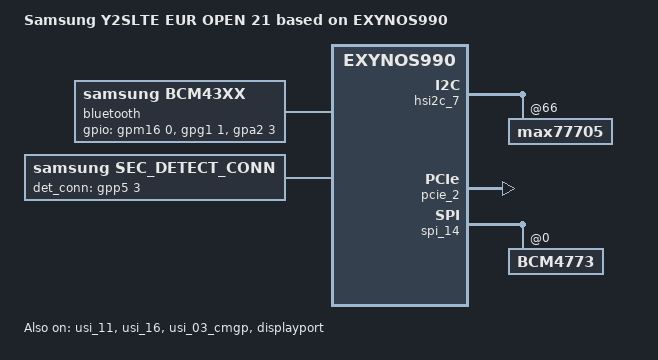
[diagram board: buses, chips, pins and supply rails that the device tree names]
/*
 * SAMSUNG EXYNOS990 board device tree source
 *
 * Copyright (c) 2019 Samsung Electronics Co., Ltd.
 *		http://www.samsung.com
 *
 * This program is free software; you can redistribute it and/or modify
 * it under the terms of the GNU General Public License version 2 as
 * published by the Free Software Foundation.
*/

/dts-v1/;
/plugin/;
#include "exynos9830-y2s_pm_21.dtsi"
#include "exynos990-y2s_common.dtsi"
#include "exynos_gpio_config_macros.dtsi"
#include "exynos9830-picasso_nfc_17.dtsi"
#include "../exynos/exynos9830-universal9830-cp-s5123-sipc.dtsi"
#include <dt-bindings/gpio/gpio.h>
#include "exynos9830-sensorhub_03.dtsi"
#include "exynos9830-hubbley2_fingerprint_00.dtsi"
#include "battery_data_hubbley2_17.dtsi"

#define BOARD_ID	0x10
#define BOARD_REV	0x0

/ {
	compatible = "samsung,Y2SLTE EUR OPEN 21", "samsung,EXYNOS990";
	dtbo-hw_rev = <21>;
	dtbo-hw_rev_end = <255>;
	edtbo-rev = <0>;

	fragment@model {
		target-path = "/";
		__overlay__ {
			#address-cells = <2>;
			#size-cells = <1>;

			model = "Samsung Y2SLTE EUR OPEN 21 based on EXYNOS990";

			acpm_ipc {
				compatible = "samsung,exynos-acpm-ipc";
				board-id = <BOARD_ID>;
				board-rev = <BOARD_REV>;
			};

			pinctrl@15850000 {
				bt_hostwake: bt-hostwake {
					samsung,pins = "gpa2-3";
					samsung,pin-function = <0xF>;
					samsung,pin-pud = <1>;
				};
			};

			pinctrl@10730000 {
				bt_btwake: bt-btwake {
					samsung,pins = "gpg1-1";
					samsung,pin-function = <1>;
					samsung,pin-pud = <0>;
					samsung,pin-con-pdn = <3>;
					samsung,pin-pud-pdn = <0>;
				};
				cam_detect_conn_setting: cam_detect_conn_setting {
					samsung,pins = "gpp5-3";
					samsung,pin-function = <0xf>;
					samsung,pin-pud = <0>;
					samsung,pin-drv = <0>;
				};
			};

			pinctrl@15C30000 {
				bt_en: bt-en {
					samsung,pins = "gpm16-0";
					samsung,pin-function = <1>;
					samsung,pin-pud = <0>;
					samsung,pin-con-pdn = <3>;
					samsung,pin-pud-pdn = <0>;
				};
			};

			bluetooth {
				compatible = "samsung,bcm43xx";
				gpios = <&gpm16 0 GPIO_ACTIVE_HIGH    /*BT_EN*/
				&gpg1 1 GPIO_ACTIVE_HIGH    /*BT_WAKE*/
				&gpa2 3 GPIO_ACTIVE_HIGH    /*BT_HOST_WAKE*/ >;
				pinctrl-names = "default";
				pinctrl-0=<&bt_en &bt_hostwake &bt_btwake>;
				status = "okay";
			};

			sec_detect_conn {
				compatible = "samsung,sec_detect_conn";
				sec,det_conn_gpios = <&gpp5 3 0>;           /* CAM_CON_DET */
				sec,det_conn_name = "CAM_CONNECT";

				sec,det_conn_irq_type = <3>; /* CAM_CON_DET BOTH EDGE*/	
				pinctrl-names = "default";
				pinctrl-0 = <&cam_detect_conn_setting>;
			};

			abc_hub {
				pinctrl-0 = <&cam_detect_conn_setting>;
				cond {
					cond,det_conn_gpios = <&gpp5 3 0>; /* CAM_CON_DET */

					cond,name="cam_cond";
					cond,det_conn_irq_type =<3>; /* CAM_CON_DET BOTH EDGE*/
				};
			};
		}; /* end of __overlay__ */
	}; /* end of fragment */
}; /* end of root */

&panel_0 {
	/* reset, power */
	gpios = <&gpa3 4 0x1>;
};

&panel_drv_0 {
	gpios {
		conn-det {
			name = "conn-det";
			gpios = <&gpa0 0 0>; 		/* 0:NOK(active) 1:OK */
			dir = <1>;  				/* IN */
			irq-type = <0x00002001>;	/* RISING EDGE | ONE_SHOT */
		};
	};
};

&chosen {
	bootargs_ext = "root=/dev/ram0 androidboot.boot_devices=13100000.ufs sec_debug.cp=0";
};

&usi_11 {
	usi_v2_mode = "i2c";
	status = "okay";
};

&usi_16 {
	usi_v2_mode = "spi";
	status = "okay";
};

&usi_03_cmgp {
	usi_v2_mode = "i2c";
	status = "okay";
};

&hsi2c_7 {
	max77705@66 {
		max77705,extra_fw_enable = <0>;
	};
};

&pinctrl_1 {
	hsi2c44_bus: hsi2c44-bus {
		samsung,pins = "gpm12-0", "gpm13-0";
		samsung,pin-function = <2>;
		samsung,pin-pud = <0>;
		samsung,pin-drv = <0>;
	};
};

&pinctrl_5 {
	aux_oe: aux-oe {
		samsung,pins = "gpp6-2";
		samsung,pin-function = <1>;
		samsung,pin-pud = <0>;
		samsung,pin-con-pdn = <3>;
		samsung,pin-pud-pdn = <0>;
		};

	sbu_sel: sbu-sel {
		samsung,pins = "gpp6-1";
		samsung,pin-function = <1>;
		samsung,pin-pud = <0>;
		samsung,pin-con-pdn = <3>;
		samsung,pin-pud-pdn = <0>;
		};
};

&displayport {
	status = "okay";
	dp,aux_sw_oe = <&gpp6 2 0>;
	dp,sbu_sw_sel = <&gpp6 1 0>;
	dp,usb_con_sel = <&gpm26 0 0>;

	pinctrl-names = "default";
	pinctrl-0 = <&aux_oe &sbu_sel>;
};

&pcie_2 {
	status = "okay";
	chip-ver = <1>;
	use-sysmmu = "false";
	use-cache-coherency = "true";
	use-msi = "true";
	use-pcieon-sleep = "true";
	phy-power-off = "false";
	ep-device-type = <EP_SAMSUNG_MODEM>;
	ep-device-name = "MODEM";
};

&ufs {
	/* board type for UFS CAL */
	evt-ver = /bits/ 8 <1>;
};

&spi_14 {
	BCM4773@0 {
		ssp-acc-position = <7>;
		ssp-mag-position = <5>;
      	ssp-mag-array = /bits/ 8 <175 84 224 204 254 128 0 64 212 54 81 108 96 102 252 122 255 159 193 200 191 253 207 211 9 117 206>;
	};
};

/* ----------------------------------------------------------------------------
 * Configurations for GPIOs without Device Driver
 * Note: Do NOT add pins using by device drivers to the configuration below
 * ----------------------------------------------------------------------------
 */
/*
 * pin banks of exynos9830 pin-controller 0 (ALIVE) : pinctrl@15850000
 * GPA0, GPA1, GPA2, GPA3, GPA4
 * GPQ0
 */
&pinctrl_0 {
	pinctrl-names = "default";
	pinctrl-0 = <&initial0>;
	initial0: initial-state {
		PIN_IN(gpq0-6, DOWN);			/* XSPEEDY_DCXO */
	};
};

/*
 * pin banks of exynos9830 pin-controller 4 (PERIC0) : pinctrl@10430000
 * GPP0, GPP1, GPP2, GPP3, GPP4
 * GPG0
 */
&pinctrl_4 {
	pinctrl-names = "default";
	pinctrl-0 = <&initial4>;
	initial4: initial-state {
		PIN_IN_SLP(gpp2-4, NONE, INPUT, NONE);	/* SUB_VER_1 */
		PIN_IN_SLP(gpp2-5, NONE, INPUT, NONE);	/* SUB_VER_2 */
	};
};

/*
 * pin banks of exynos9830 pin-controller 5 (PERIC1) : pinctrl@10730000
 * GPP5, GPP6, GPP7, GPP8, GPP9
 * GPC0
 * GPG1
 * GPB0, GPB1, GPB2
 */
&pinctrl_5 {
	pinctrl-names = "default";
	pinctrl-0 = <&initial5>;
	initial5: initial-state {
		PIN_IN_SLP(gpp5-0, NONE, INPUT, NONE);	/* MEM_SCL_1P8 */
		PIN_IN_SLP(gpp5-1, NONE, INPUT, NONE);	/* MEM_SDA_1P8 */
		PIN_IN_SLP(gpp5-5, NONE, INPUT, NONE);	/* HW_REV_M */
		PIN_IN_SLP(gpb0-0, NONE, INPUT, NONE);	/* INTERPOSER_DET_R_2 */
		PIN_IN_SLP(gpb0-1, NONE, INPUT, NONE);	/* INTERPOSER_DET_R_1 */
		PIN_IN_SLP(gpb0-2, NONE, INPUT, NONE);	/* INTERPOSER_DET_L_1 */
		PIN_IN_SLP(gpb0-3, NONE, INPUT, NONE);	/* INTERPOSER_DET_L_2 */
	};
};
